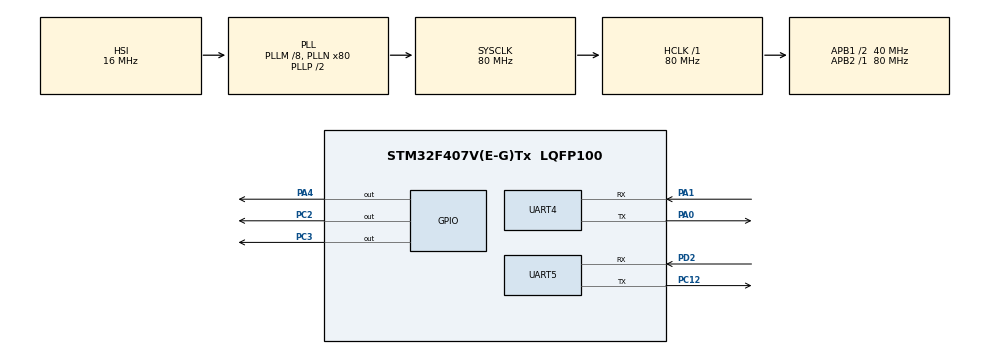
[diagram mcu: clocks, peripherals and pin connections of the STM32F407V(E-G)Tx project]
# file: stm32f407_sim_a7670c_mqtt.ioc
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Mcu.Family=STM32F4
Mcu.Name=STM32F407V(E-G)Tx
Mcu.Package=LQFP100
NVIC.PriorityGroup=NVIC_PRIORITYGROUP_4
PA0-WKUP.Mode=Asynchronous
PA0-WKUP.Signal=UART4_TX
PA1.Mode=Asynchronous
PA1.Signal=UART4_RX
PA13.Mode=Serial_Wire
PA13.Signal=SYS_JTMS-SWDIO
PA14.Mode=Serial_Wire
PA14.Signal=SYS_JTCK-SWCLK
PA4.Signal=GPIO_Output
PC12.Mode=Asynchronous
PC12.Signal=UART5_TX
PC2.Signal=GPIO_Output
PC3.Signal=GPIO_Output
PD2.Mode=Asynchronous
PD2.Signal=UART5_RX
ProjectManager.HeapSize=0x200
ProjectManager.StackSize=0x400
ProjectManager.TargetToolchain=STM32CubeIDE
RCC.48MHZClocksFreq_Value=40000000
RCC.AHBFreq_Value=80000000
RCC.APB1CLKDivider=RCC_HCLK_DIV2
RCC.APB1Freq_Value=40000000
RCC.APB1TimFreq_Value=80000000
RCC.APB2Freq_Value=80000000
RCC.APB2TimFreq_Value=80000000
RCC.CortexFreq_Value=80000000
RCC.HCLKFreq_Value=80000000
RCC.HSE_VALUE=25000000
RCC.HSI_VALUE=16000000
RCC.LSE_VALUE=32768
RCC.PLLM=8
RCC.PLLN=80
RCC.SYSCLKFreq_VALUE=80000000
RCC.SYSCLKSource=RCC_SYSCLKSOURCE_PLLCLK
RCC.VCOOutputFreq_Value=160000000
UART4.VirtualMode=Asynchronous
UART5.VirtualMode=Asynchronous
board=custom

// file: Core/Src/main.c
/* USER CODE BEGIN Header */
/**
  ******************************************************************************
  * @file           : main.c
  * @brief          : Main program body
  ******************************************************************************
  * @attention
  *
  * Copyright (c) 2024 STMicroelectronics.
  * All rights reserved.
  *
  * This software is licensed under terms that can be found in the LICENSE file
  * in the root directory of this software component.
  * If no LICENSE file comes with this software, it is provided AS-IS.
  *
  ******************************************************************************
  */
/* USER CODE END Header */
#include "main.h"

/* USER CODE BEGIN Includes */
#include "network_sim7670.h"
#include "MQTTClient.h"
#include "debug_utils.h"
#include <stdio.h>
#include <stdlib.h>
#include <string.h>
/* USER CODE END Includes */

/* USER CODE BEGIN PD */
/*
typedef struct
{
	// The eyecatcher for this structure.  must be MQTC.
	char struct_id[4];
	// The version number of this structure.  Must be 0
	int struct_version;
	// Version of MQTT to be used.  3 = 3.1 4 = 3.1.1
	unsigned char MQTTVersion;
	MQTTString clientID;
	unsigned short keepAliveInterval;
	unsigned char cleansession;
	unsigned char willFlag;
	MQTTPacket_willOptions will;
	MQTTString username;
	MQTTString password;
} MQTTPacket_connectData;
*/

Network network;
MQTTClient client;
uint8_t sendbuf[256], readbuf[256]; // MQTT buffers
/* USER CODE END PD */

UART_HandleTypeDef huart4;
UART_HandleTypeDef huart5;

void SystemClock_Config(void);
static void MX_GPIO_Init(void);
static void MX_UART4_Init(void);
static void MX_UART5_Init(void);

/* USER CODE BEGIN 0 */
void ResetMCU(void) {
    // Debug message before reset
    DebugPrint("Performing MCU reset...\r\n");

    // Perform the system reset
    HAL_NVIC_SystemReset();
}

/* USER CODE END 0 */

int main(void)
{

  /* MCU Configuration--------------------------------------------------------*/

  /* Reset of all peripherals, Initializes the Flash interface and the Systick. */
  HAL_Init();

  /* Configure the system clock */
  SystemClock_Config();

  /* Initialize all configured peripherals */
  MX_GPIO_Init();
  MX_UART4_Init();
  MX_UART5_Init();
  /* USER CODE BEGIN 2 */
  DebugPrint("Powering on SIM module...\r\n");
  //SIM_PowerOn();
  HAL_Delay(5000);
  DebugPrint("Resetting SIM module...\r\n");
  SIM_Reset();
  HAL_Delay(5000);
  //ResetMCU();
  DebugPrint("Initializing SIM module and network...\r\n");
  if (Network_Init() != 0) {
	  while (1){
		  DebugPrint("Network initialization failed.\r\n");
		  HAL_Delay(3000);
		  SIM_Reset();
		  HAL_Delay(10000);
		  //ResetMCU();
		  if(Network_Init() == 0){
			  break;
		  }
	  }
  }

	NetworkInit(&network, &huart5);

	if(ConnectNetwork(&network, MQTT_BROKER, MQTT_PORT) != SUCCESS){
		while(1){
			DebugPrint("Connected to MQTT broker FAILED!!!.\r\n");
			HAL_Delay(1000);
			if(ConnectNetwork(&network, MQTT_BROKER, MQTT_PORT) == SUCCESS){
				DebugPrint("Connected to MQTT broker successfully.\r\n");
				break;
			}
		}
	}else{
		DebugPrint("Connected to MQTT broker successfully.\r\n");
	}

	 MQTTPacket_connectData connectData = MQTTPacket_connectData_initializer;
	  //MQTTMessage msg = {QOS0, 1, 0,1, "Hasan", 14};

	 // Modify the connectData fields
	connectData.MQTTVersion = 4; // MQTT version 3.1.1
	connectData.keepAliveInterval = 60; // 60 seconds keep-alive
	connectData.cleansession = 1; // Clean session flag
	connectData.clientID.cstring = MQTT_CLIENT_ID; // Unique client identifier
	connectData.username.cstring = NULL; // Optional: set username if required
	connectData.password.cstring = NULL; // Optional: set password if required

	MQTTClientInit(&client, &network, TIMEOUT_MS, sendbuf, sizeof(sendbuf), readbuf, sizeof(readbuf));

	if(MQTTConnect(&client, &connectData) != SUCCESSES){
		while(1){
			DebugPrint("FAILED to connect MQTTClient!!!.\r\n");
			HAL_Delay(1000);
			if(MQTTConnect(&client, &connectData) == SUCCESS){
				DebugPrint("Connect MQTTClient successfully.\r\n");
				break;
			}
		}
	} else{
		DebugPrint("Connect MQTTClient successfully.\r\n");
	}

  /* USER CODE END 2 */

  /* Infinite loop */
  /* USER CODE BEGIN WHILE */
  while (1)
  {
	  MQTTMessage message;
	  message.qos = QOS0;
	  message.retained = 0;
	  message.dup = 0;
	  message.payload = (void*)"Hello MQTT";
	  message.payloadlen = strlen("Hello MQTT");

	  if (MQTTPublish(&client, "device/hasan/data", &message) != 0) {
	      DebugPrint("Failed to publish the message.\r\n");
	      return -1;
	  }
	  DebugPrint("Message published successfully.\r\n");
	  HAL_Delay(1000);
    /* USER CODE END WHILE */

  }
}

void SystemClock_Config(void)
{
  RCC_OscInitTypeDef RCC_OscInitStruct = {0};
  RCC_ClkInitTypeDef RCC_ClkInitStruct = {0};

  /** Configure the main internal regulator output voltage
  */
  __HAL_RCC_PWR_CLK_ENABLE();
  __HAL_PWR_VOLTAGESCALING_CONFIG(PWR_REGULATOR_VOLTAGE_SCALE1);

  /** Initializes the RCC Oscillators according to the specified parameters
  * in the RCC_OscInitTypeDef structure.
  */
  RCC_OscInitStruct.OscillatorType = RCC_OSCILLATORTYPE_HSI;
  RCC_OscInitStruct.HSIState = RCC_HSI_ON;
  RCC_OscInitStruct.HSICalibrationValue = RCC_HSICALIBRATION_DEFAULT;
  RCC_OscInitStruct.PLL.PLLState = RCC_PLL_ON;
  RCC_OscInitStruct.PLL.PLLSource = RCC_PLLSOURCE_HSI;
  RCC_OscInitStruct.PLL.PLLM = 8;
  RCC_OscInitStruct.PLL.PLLN = 80;
  RCC_OscInitStruct.PLL.PLLP = RCC_PLLP_DIV2;
  RCC_OscInitStruct.PLL.PLLQ = 4;
  if (HAL_RCC_OscConfig(&RCC_OscInitStruct) != HAL_OK)
  {
    Error_Handler();
  }

  /** Initializes the CPU, AHB and APB buses clocks
  */
  RCC_ClkInitStruct.ClockType = RCC_CLOCKTYPE_HCLK|RCC_CLOCKTYPE_SYSCLK
                              |RCC_CLOCKTYPE_PCLK1|RCC_CLOCKTYPE_PCLK2;
  RCC_ClkInitStruct.SYSCLKSource = RCC_SYSCLKSOURCE_PLLCLK;
  RCC_ClkInitStruct.AHBCLKDivider = RCC_SYSCLK_DIV1;
  RCC_ClkInitStruct.APB1CLKDivider = RCC_HCLK_DIV2;
  RCC_ClkInitStruct.APB2CLKDivider = RCC_HCLK_DIV1;

  if (HAL_RCC_ClockConfig(&RCC_ClkInitStruct, FLASH_LATENCY_2) != HAL_OK)
  {
    Error_Handler();
  }
}

static void MX_UART4_Init(void)
{

  huart4.Instance = UART4;
  huart4.Init.BaudRate = 115200;
  huart4.Init.WordLength = UART_WORDLENGTH_8B;
  huart4.Init.StopBits = UART_STOPBITS_1;
  huart4.Init.Parity = UART_PARITY_NONE;
  huart4.Init.Mode = UART_MODE_TX_RX;
  huart4.Init.HwFlowCtl = UART_HWCONTROL_NONE;
  huart4.Init.OverSampling = UART_OVERSAMPLING_16;
  if (HAL_UART_Init(&huart4) != HAL_OK)
  {
    Error_Handler();
  }

}

static void MX_UART5_Init(void)
{

  huart5.Instance = UART5;
  huart5.Init.BaudRate = 115200;
  huart5.Init.WordLength = UART_WORDLENGTH_8B;
  huart5.Init.StopBits = UART_STOPBITS_1;
  huart5.Init.Parity = UART_PARITY_NONE;
  huart5.Init.Mode = UART_MODE_TX_RX;
  huart5.Init.HwFlowCtl = UART_HWCONTROL_NONE;
  huart5.Init.OverSampling = UART_OVERSAMPLING_16;
  if (HAL_UART_Init(&huart5) != HAL_OK)
  {
    Error_Handler();
  }

}

static void MX_GPIO_Init(void)
{
  GPIO_InitTypeDef GPIO_InitStruct = {0};

  /* GPIO Ports Clock Enable */
  __HAL_RCC_GPIOC_CLK_ENABLE();
  __HAL_RCC_GPIOA_CLK_ENABLE();
  __HAL_RCC_GPIOD_CLK_ENABLE();

  /*Configure GPIO pin Output Level */
  HAL_GPIO_WritePin(GPIOC, GPIO_PIN_2|GPIO_PIN_3, GPIO_PIN_RESET);

  /*Configure GPIO pin Output Level */
  HAL_GPIO_WritePin(GPIOA, GPIO_PIN_4, GPIO_PIN_RESET);

  /*Configure GPIO pins : PC2 PC3 */
  GPIO_InitStruct.Pin = GPIO_PIN_2|GPIO_PIN_3;
  GPIO_InitStruct.Mode = GPIO_MODE_OUTPUT_PP;
  GPIO_InitStruct.Pull = GPIO_NOPULL;
  GPIO_InitStruct.Speed = GPIO_SPEED_FREQ_LOW;
  HAL_GPIO_Init(GPIOC, &GPIO_InitStruct);

  /*Configure GPIO pin : PA4 */
  GPIO_InitStruct.Pin = GPIO_PIN_4;
  GPIO_InitStruct.Mode = GPIO_MODE_OUTPUT_PP;
  GPIO_InitStruct.Pull = GPIO_NOPULL;
  GPIO_InitStruct.Speed = GPIO_SPEED_FREQ_LOW;
  HAL_GPIO_Init(GPIOA, &GPIO_InitStruct);

}

void Error_Handler(void)
{
  __disable_irq();
  while (1)
  {
  }
}
